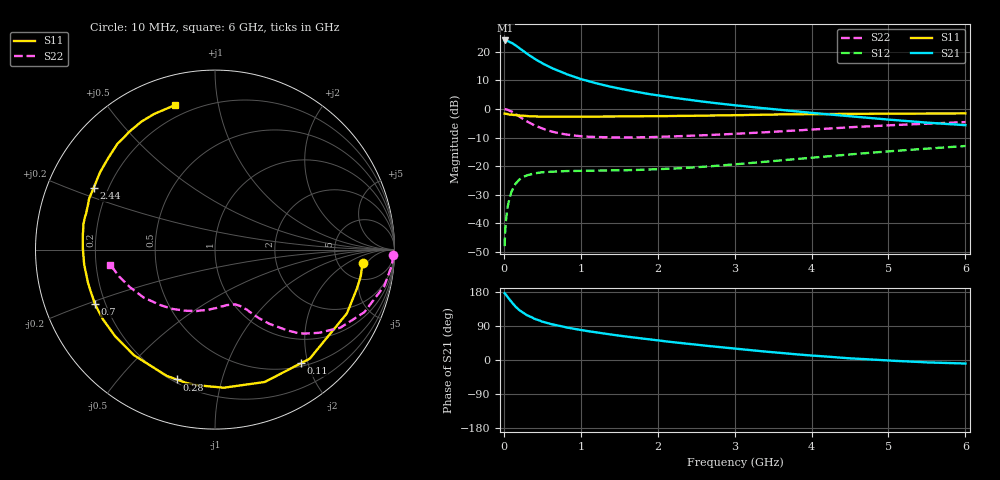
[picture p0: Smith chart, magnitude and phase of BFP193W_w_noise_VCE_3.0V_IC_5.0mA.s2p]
! Infineon Technologies  Discrete & RF Semiconductors
! BFP193W
! VCE = 3.0 V,  IC =  5.0 mA
! Common Emitter S-Parameters:  Jan 2016
# GHz  S  MA  R  50
!  f  S11  S21  S12  S22
! GHz  MAG  ANG  MAG  ANG  MAG  ANG  MAG  ANG
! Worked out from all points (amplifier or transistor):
!   210 points, 10 MHz to 6 GHz, reference 50 ohm
!   highest |S21| = 23.9 dB at 20 MHz (marker M1)
!   |S21| within 3 dB of that: start of sweep to 218.2 MHz
!   unconditionally stable (mu >= 1): 1.695 GHz to 4.41 GHz
!   at 185 MHz: K = 0.14, MSG = 23.4 dB, |S12| = -25.2 dB
!   at 1.52 GHz: K = 0.93, MSG = 14.2 dB, |S12| = -21.5 dB
!   at 6 GHz: K = 0.93, MSG = 3.6 dB, |S12| = -13.0 dB
!   lowest NFmin = 1.20 dB at 450 MHz
!   S11 on the Smith chart (normalised r, x): 10 MHz: 8.61, -3.97; 110 MHz: 0.55, -1.88; 280 MHz: 0.22, -0.72; 700 MHz: 0.16, -0.21; 2.44 GHz: 0.15, +0.23; 6 GHz: 0.14, +0.75
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0.01  0.8255 -5.1  15.64 176.3  0.004 87.4  0.9943 -1.7
0.02  0.8255 -10.4  15.71 174.2  0.0082 83.9  0.9886 -5.1
0.05  0.8163 -25.8  15.38 165.7  0.0195 76.7  0.9643 -12.2
0.1  0.805 -49.0  14.34 152.7  0.0359 65.7  0.9017 -22.8
0.11  0.7936 -53.0  14.03 150.6  0.0384 63.2  0.8841 -24.5
0.15  0.788 -69.4  13.02 141.1  0.0487 55.8  0.8221 -32.0
0.2  0.771 -86.3  11.6 131.9  0.058 48.4  0.7403 -38.8
0.24  0.7623 -97.2  10.59 126.1  0.0632 43.4  0.6837 -43.2
0.28  0.7543 -106.5  9.651 120.9  0.0672 39.5  0.6313 -46.5
0.3  0.7531 -110.9  9.205 118.2  0.0691 37.7  0.6058 -48.1
0.4  0.7419 -127.5  7.499 108.6  0.0749 31.2  0.5139 -53.7
0.5  0.7364 -139.2  6.266 101.2  0.0783 27.3  0.4527 -57.4
0.6  0.7355 -148.3  5.345 95.4  0.08 24.6  0.409 -60.2
0.7  0.7344 -155.5  4.68 90.7  0.0812 23.1  0.3792 -62.0
1.02  0.7314 -170.6  3.278 78.6  0.0828 21.0  0.332 -68.3
1.4  0.7376 176.9  2.426 66.9  0.0845 22.4  0.3182 -75.8
2.02  0.7487 161.6  1.707 51.2  0.0886 28.4  0.3258 -89.0
2.44  0.7579 153.1  1.422 41.8  0.0944 33.1  0.3415 -98.5
3.1  0.7799 140.9  1.122 28.1  0.1104 38.9  0.3727 -113.8
4.1  0.813 125.0  0.83 10.5  0.1448 41.8  0.4422 -137.3
5.1  0.8283 113.3  0.636 -2.4  0.1855 39.7  0.5244 -157.9
6  0.835 105.3  0.52 -9.3  0.2249 35.7  0.5888 -171.7
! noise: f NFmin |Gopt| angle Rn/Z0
0.45  1.2  0.26  102  0.14
0.9  1.25  0.38  145  0.12
1.8  2.05  0.56  -161  0.12
